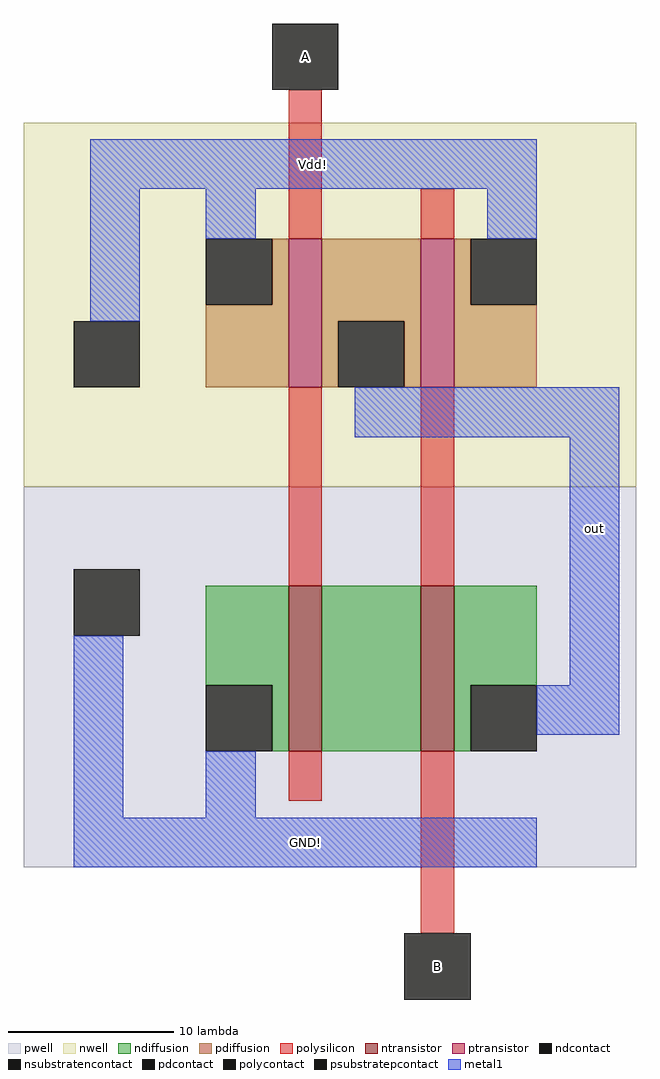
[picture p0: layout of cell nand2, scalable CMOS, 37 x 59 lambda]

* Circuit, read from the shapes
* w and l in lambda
.subckt nand2 B A out
M1 n1 A GND! GND! nfet w=10 l=2
M2 out B n1 GND! nfet w=10 l=2
M3 out A Vdd! Vdd! pfet w=9 l=2
M4 Vdd! B out Vdd! pfet w=9 l=2
.ends

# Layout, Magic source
magic
tech scmos
<< nwell >>
rect 10 16 47 38
<< pwell >>
rect 10 -7 47 16
<< ntransistor >>
rect 26 0 28 10
rect 34 0 36 10
<< ptransistor >>
rect 26 22 28 31
rect 34 22 36 31
<< ndiffusion >>
rect 21 4 26 10
rect 25 0 26 4
rect 28 0 34 10
rect 36 4 41 10
rect 36 0 37 4
<< pdiffusion >>
rect 25 27 26 31
rect 21 22 26 27
rect 28 26 34 31
rect 28 22 29 26
rect 33 22 34 26
rect 36 27 37 31
rect 36 22 41 27
<< ndcontact >>
rect 21 0 25 4
rect 37 0 41 4
<< pdcontact >>
rect 21 27 25 31
rect 29 22 33 26
rect 37 27 41 31
<< psubstratepcontact >>
rect 13 7 17 11
<< nsubstratencontact >>
rect 13 22 17 26
<< polysilicon >>
rect 26 31 28 40
rect 34 31 36 34
rect 26 10 28 22
rect 34 10 36 22
rect 26 -3 28 0
rect 34 -11 36 0
<< polycontact >>
rect 25 40 29 44
rect 33 -15 37 -11
<< metal1 >>
rect 14 34 41 37
rect 14 26 17 34
rect 21 31 24 34
rect 38 31 41 34
rect 30 19 46 22
rect 13 -4 16 7
rect 43 4 46 19
rect 41 1 46 4
rect 21 -4 24 0
rect 13 -7 41 -4
<< labels >>
rlabel metal1 14 34 41 37 1 Vdd!
rlabel metal1 13 -7 41 -4 5 GND!
rlabel metal1 43 12 46 15 3 out
port 3 e
rlabel polycontact 25 40 29 44 1 A
port 2 n
rlabel polycontact 33 -15 37 -11 5 B
port 1 s
<< end >>
